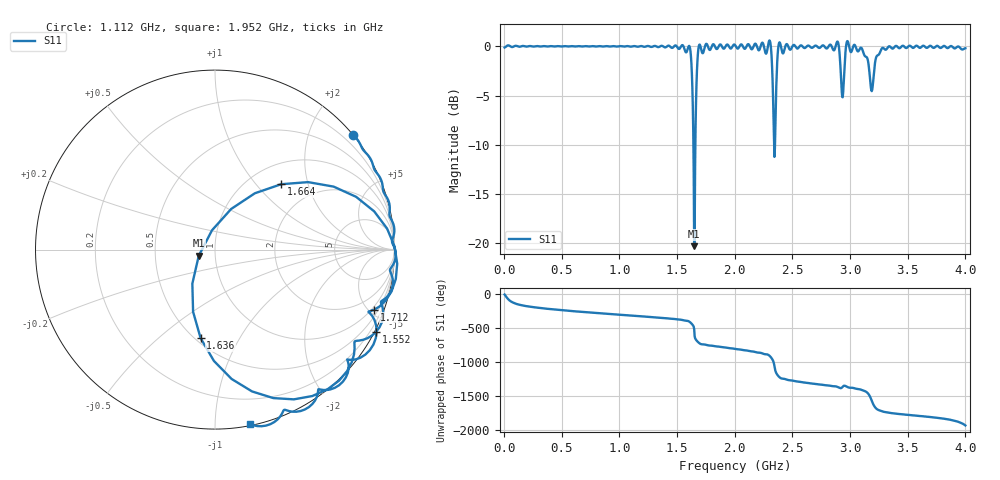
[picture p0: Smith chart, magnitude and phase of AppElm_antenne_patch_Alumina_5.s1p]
! TOUCHSTONE file generated by CST MICROWAVE STUDIO
! Date and time: Thu Jun  9 08:54:59 2022
! Project name: AppElm_antenne_patch_Alumina.cst
! Parameters = {L=28.975; W=41.8; e=0.035; h=1.6; lambda=0.190476; ls=90; w0=1.12; w1=0.373; ws=90; y0=14; y1=10}
! Header version: 2018
! Port assignment regex: !\s*Touchstone port\s*([0-9]+)\s*=\s*(CST MWS port|CST DS port)\s*([0-9]+|Zmin|Zmax)\s*\(\"(.*)\"\)(\s*mode\s*([0-9]+))?.*
! Touchstone port assignment:
! Touchstone port 1 = CST MWS port 1 ("")
# GHz S MA R 50
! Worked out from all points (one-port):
!   1000 points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, 4 MHz to 4 GHz, reference 50 ohm
!   lowest |S11| = -20.3 dB at 1.648 GHz (marker M1), VSWR 1.21, Z = 41.6 - j2.9 ohm
!   |S11| at or under -10 dB: 1.641 GHz to 1.658 GHz (17.03 MHz wide, 1.03 % of centre); 2.340824 GHz to 2.348603 GHz (7.779 MHz wide, 0.332 % of centre)
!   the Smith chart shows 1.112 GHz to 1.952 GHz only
!   S11 on the Smith chart (normalised r, x): 1.112 GHz: 0.00, +2.76; 1.552 GHz: -0.07, -4.16; 1.636 GHz: 0.53, -0.70; 1.664 GHz: 1.38, +1.37; 1.712 GHz: 0.81, -5.37; 1.952 GHz: 0.01, -1.22
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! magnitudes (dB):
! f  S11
! 4 MHz  -0.1
! 504 MHz  0.0
! 1.004 GHz  0.0
! 1.112 GHz  0.0
! 1.504 GHz  -0.1
! 1.552 GHz  0.1
! 1.612 GHz  -0.2
! 1.624 GHz  -1.8
! 1.636 GHz  -6.0
! 1.648 GHz  -20.3
! 1.664 GHz  -5.7
! 1.684 GHz  -0.3
! 1.712 GHz  -0.5
! 1.952 GHz  -0.1
! 2.004 GHz  0.1
! 2.3 GHz  0.6
! 2.344 GHz  -11.2
! 2.388 GHz  0.4
! 2.504 GHz  0.1
! 2.888 GHz  0.5
! 2.932 GHz  -5.1
! 2.972 GHz  0.5
! 3.004 GHz  -0.6
! 3.108 GHz  -0.4
! 3.188 GHz  -4.6
! 3.276 GHz  -0.2
! 3.504 GHz  0.0
! 4 GHz  -0.2
